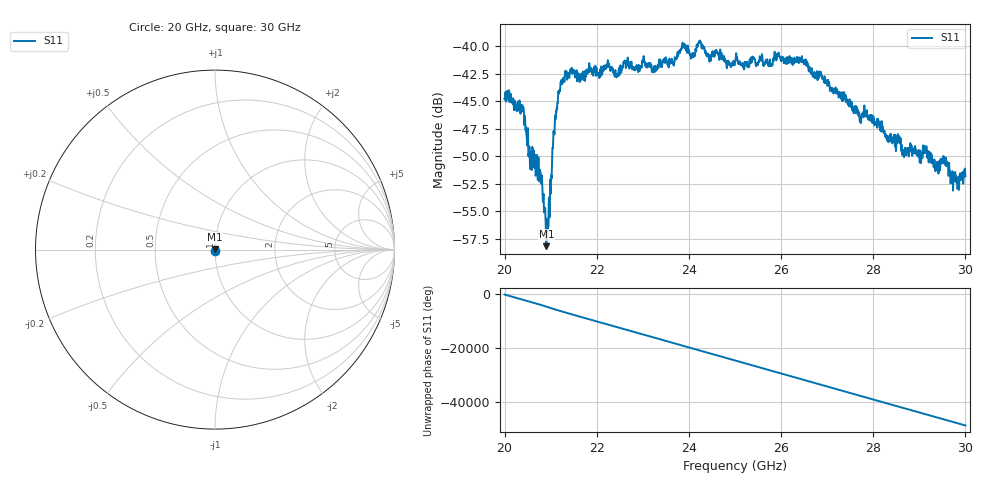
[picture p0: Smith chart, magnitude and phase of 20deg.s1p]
#  HZ  S  RI  R  50.00
! Rohde & Schwarz ZVA40 4Ports - Version 3.90 - 1145.1110k42 SN: 100403
! Date: 2023-10-03 11:41:50
! Measurement: S12
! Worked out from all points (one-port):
!   5001 points, 20 GHz to 30 GHz, reference 50 ohm
!   lowest |S11| = -58.2 dB at 20.91 GHz (marker M1), VSWR 1.00, Z = 50 + j0.119 ohm
!   |S11| at or under -10 dB: start of sweep to end of sweep
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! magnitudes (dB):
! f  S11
! 20 GHz  -44.8
! 20.37 GHz  -45.8
! 20.54 GHz  -49.2
! 20.78 GHz  -51.4
! 20.91 GHz  -58.2
! 20.95 GHz  -55.6
! 21.1 GHz  -46.7
! 21.19 GHz  -44.0
! 21.25 GHz  -43.4
! 21.46 GHz  -42.3
! 22.5 GHz  -41.9
! 22.63 GHz  -41.9
! 23.24 GHz  -41.9
! 23.75 GHz  -40.7
! 23.88 GHz  -40.0
! 24.08 GHz  -40.8
! 24.22 GHz  -39.7
! 24.43 GHz  -40.8
! 25 GHz  -41.5
! 26.25 GHz  -41.7
! 26.49 GHz  -41.5
! 27.5 GHz  -45.2
! 28.75 GHz  -49.3
! 29.12 GHz  -49.6
! 29.4 GHz  -51.3
! 29.57 GHz  -50.8
! 29.82 GHz  -52.2
! 30 GHz  -51.8
